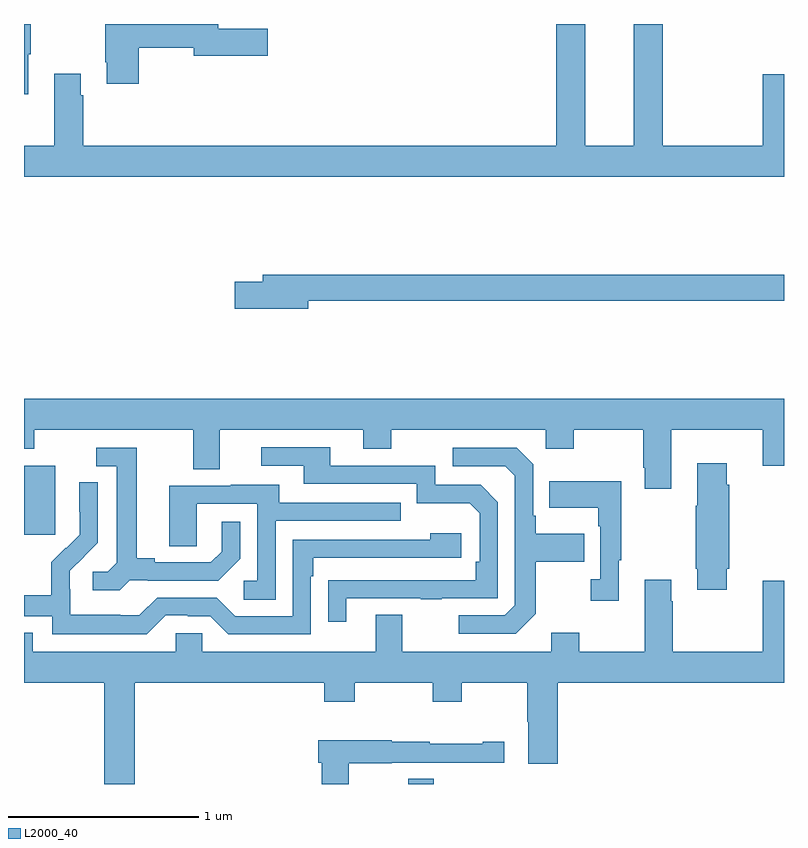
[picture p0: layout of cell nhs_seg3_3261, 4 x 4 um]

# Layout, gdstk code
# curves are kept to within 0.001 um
import gdstk
lib = gdstk.Library(unit=1e-6, precision=1e-09)
def R(c, l, rs):  # rectangles x0, y0, x1, y1
    for r in rs: c.add(gdstk.rectangle(r[:2], r[2:], *l))
def P(c, l, *ps):  # polygons
    for p in ps: c.add(gdstk.Polygon(p, *l))
L2000_40 = (2000, 40)

nhs_seg3_3261 = lib.new_cell('nhs_seg3_3261')
R(nhs_seg3_3261, L2000_40, [(283.022,684.4,283.156,684.428), (281,685.713,281.164,686.074)])
P(nhs_seg3_3261, L2000_40, [(285,688.135),(284.888,688.135),(284.888,687.76),(284.363,687.76),(284.363,688.4),(284.21,688.4),(284.21,687.76),(283.954,687.76),(283.954,688.4),(283.802,688.4),(283.802,687.76),(281.312,687.76),(281.312,688.025),(281.299,688.025),(281.299,688.138),(281.159,688.138),(281.159,687.76),(281,687.76),(281,687.596),(285,687.596)],
  [(281.603,688.276),(281.894,688.276),(281.894,688.234),(282.283,688.234),(282.283,688.376),(282.022,688.376),(282.022,688.4),(281.428,688.4),(281.428,688.198),(281.435,688.198),(281.435,688.086),(281.603,688.086)],
  [(281.023,688.241),(281.035,688.241),(281.035,688.4),(281,688.4),(281,688.029),(281.023,688.029)],
  [(282.496,686.944),(285,686.944),(285,687.08),(282.257,687.08),(282.257,687.044),(282.108,687.044),(282.108,686.902),(282.496,686.902)],
  [(284.407,686.264),(284.888,686.264),(284.888,686.076),(285,686.076),(285,686.428),(281,686.428),(281,686.165),(281.055,686.165),(281.055,686.264),(281.891,686.264),(281.891,686.056),(282.031,686.056),(282.031,686.264),(282.785,686.264),(282.785,686.165),(282.933,686.165),(282.933,686.264),(283.746,686.264),(283.746,686.165),(283.893,686.165),(283.893,686.264),(284.26,686.264),(284.26,686.065),(284.267,686.065),(284.267,685.953),(284.407,685.953)],
  [(282.697,685.377),(283.087,685.377),(283.087,685.372),(283.199,685.372),(283.199,685.377),(283.494,685.377),(283.494,685.884),(283.404,685.974),(283.164,685.974),(283.164,686.076),(282.613,686.076),(282.613,686.172),(282.249,686.172),(282.249,686.076),(282.473,686.076),(282.473,685.98),(283.068,685.98),(283.068,685.877),(283.345,685.877),(283.398,685.824),(283.398,685.57),(283.378,685.57),(283.378,685.473),(282.601,685.472),(282.601,685.254),(282.697,685.254)],
  [(281.556,685.473),(281.65,685.473),(281.65,685.47),(282.022,685.47),(282.138,685.586),(282.138,685.78),(282.041,685.78),(282.041,685.623),(281.984,685.566),(281.689,685.566),(281.689,685.589),(281.593,685.589),(281.593,686.169),(281.379,686.169),(281.379,686.073),(281.489,686.073),(281.489,685.565),(281.442,685.518),(281.361,685.518),(281.361,685.421),(281.504,685.421)],
  [(283.693,685.297),(283.693,685.57),(283.949,685.57),(283.949,685.717),(283.693,685.717),(283.693,685.813),(283.68,685.813),(283.68,686.082),(283.593,686.169),(283.257,686.169),(283.257,686.073),(283.533,686.073),(283.584,686.022),(283.584,685.341),(283.53,685.287),(283.287,685.287),(283.287,685.191),(283.587,685.191)],
  [(284.698,685.534),(284.711,685.534),(284.711,685.976),(284.698,685.976),(284.698,686.089),(284.543,686.089),(284.543,685.865),(284.536,685.865),(284.536,685.534),(284.543,685.534),(284.543,685.422),(284.698,685.422)],
  [(284.131,685.577),(284.143,685.577),(284.143,685.993),(283.765,685.993),(283.765,685.853),(284.022,685.853),(284.022,685.757),(284.034,685.757),(284.034,685.478),(283.983,685.478),(283.983,685.365),(284.131,685.365)],
  [(281.745,685.287),(281.861,685.287),(281.861,685.284),(281.979,685.284),(282.075,685.188),(282.51,685.188),(282.51,685.493),(282.523,685.493),(282.523,685.59),(283.3,685.59),(283.3,685.72),(283.139,685.72),(283.139,685.686),(282.414,685.686),(282.414,685.284),(282.111,685.284),(282.015,685.38),(281.7,685.38),(281.607,685.287),(281.507,685.287),(281.507,685.291),(281.244,685.291),(281.244,685.425),(281.242,685.425),(281.242,685.522),(281.388,685.67),(281.388,685.988),(281.292,685.988),(281.292,685.834),(281.294,685.834),(281.294,685.712),(281.223,685.641),(281.22,685.644),(281.143,685.567),(281.143,685.393),(281,685.393),(281,685.284),(281.148,685.284),(281.148,685.187),(281.645,685.187)],
  [(282.324,685.785),(282.983,685.785),(282.983,685.881),(282.343,685.881),(282.343,685.975),(282.089,685.975),(282.089,685.971),(281.765,685.971),(281.765,685.651),(281.91,685.651),(281.91,685.875),(282.228,685.875),(282.228,685.47),(282.156,685.47),(282.156,685.369),(282.324,685.369)],
  [(281.582,684.932),(282.581,684.932),(282.581,684.833),(282.741,684.833),(282.741,684.932),(283.15,684.932),(283.15,684.833),(283.305,684.833),(283.305,684.932),(283.648,684.932),(283.648,684.728),(283.655,684.728),(283.655,684.507),(283.808,684.507),(283.808,684.932),(285,684.932),(285,685.471),(284.888,685.471),(284.888,685.096),(284.415,685.096),(284.415,685.361),(284.407,685.361),(284.407,685.474),(284.267,685.474),(284.267,685.096),(283.923,685.096),(283.923,685.195),(283.775,685.195),(283.775,685.096),(282.991,685.096),(282.991,685.291),(282.851,685.291),(282.851,685.096),(281.937,685.096),(281.937,685.194),(281.799,685.194),(281.799,685.096),(281.047,685.096),(281.047,685.195),(281,685.195),(281,684.932),(281.422,684.932),(281.422,684.4),(281.582,684.4)],
  [(282.708,684.509),(282.936,684.509),(282.936,684.513),(283.528,684.513),(283.528,684.622),(283.415,684.622),(283.415,684.612),(283.136,684.612),(283.136,684.622),(282.936,684.622),(282.936,684.631),(282.548,684.631),(282.548,684.513),(282.566,684.513),(282.566,684.4),(282.708,684.4)])

lib.write_gds('nhs_seg3_3261.gds')
